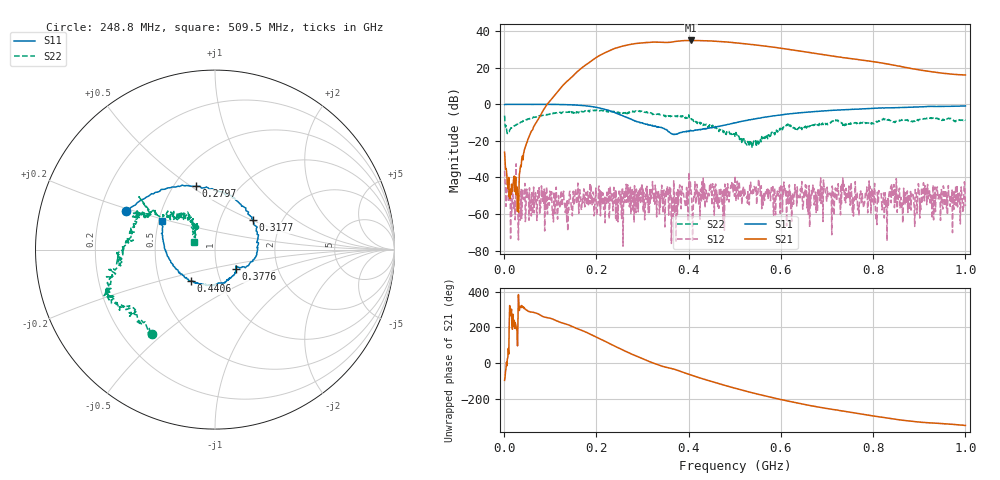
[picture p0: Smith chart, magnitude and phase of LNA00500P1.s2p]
! Created with skrf 1.9.0 (http://scikit-rf.org).
# Hz S RI R 50.0
!freq ReS11 ImS11 ReS21 ImS21 ReS12 ImS12 ReS22 ImS22
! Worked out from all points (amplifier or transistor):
!   1001 points, 1 MHz to 1 GHz, reference 50 ohm
!   highest |S21| = 34.9 dB at 404.6 MHz (marker M1)
!   |S21| within 3 dB of that: 258.4 MHz to 562.9 MHz (304.5 MHz wide, 74.1 % of centre)
!   unconditionally stable (mu >= 1): 211.1 MHz to 282.7 MHz; 298.7 MHz to 400.4 MHz; 401 MHz to end of sweep (the widest 3 of 41)
!   at 166.8 MHz: K = 3.40, MAG = 30.0 dB, |S12| = -56.9 dB
!   at 500.5 MHz: K = 1.11, MAG = 34.4 dB, |S12| = -39.1 dB
!   at 1 GHz: K = 7.50, MAG = 24.1 dB, |S12| = -55.7 dB
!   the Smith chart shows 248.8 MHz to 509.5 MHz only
!   S11 on the Smith chart (normalised r, x): 248.8 MHz: 0.31, +0.19; 279.7 MHz: 0.64, +0.52; 317.7 MHz: 1.43, +0.51; 377.6 MHz: 1.23, -0.27; 440.6 MHz: 0.72, -0.27; 509.5 MHz: 0.52, +0.19
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1000000  0.9811 -0.00953  -0.00659 -0.0486  -0.0108 0.0106  0.387 0.3023
1.08892e8  0.5266 -0.8441  -0.8149 -1.514  0.000432 -0.00405  0.4167 -0.3801
1.67833e8  -0.2242 -0.9034  -9.819 -0.5207  0.001 -0.000783  0.0248 -0.6346
2.11789e8  -0.677 -0.3569  -15.14 17.87  -0.000299 -0.00242  -0.2249 -0.6375
2.29771e8  -0.6637 -0.0523  -8.873 28.56  -0.00551 0.00132  -0.3123 -0.5816
2.48752e8  -0.4943 0.2148  4.526 36.44  -0.00281 0.00313  -0.3496 -0.471
2.79721e8  -0.1058 0.3529  31.2 32.38  -0.00102 -0.000551  -0.5784 -0.2795
2.99701e8  0.1013 0.2866  44.14 19.48  -0.0022 0.000331  -0.5789 -0.2164
3.17683e8  0.2125 0.1659  49.57 4.413  -0.00275 0.00289  -0.5813 -0.1091
3.34666e8  0.2339 0.0122  49.23 -9.834  0.00435 0.000156  -0.5258 -0.0612
3.77623e8  0.1167 -0.1084  39.56 -36.5  0.00156 0.000902  -0.4331 0.2156
4.04596e8  0.0471 -0.1853  21.59 -51.56  0.0005 0.00509  -0.3314 0.1959
4.4056e8  -0.1348 -0.1757  -6.485 -54.2  0.000328 0.00265  -0.172 0.1872
4.69531e8  -0.2472 -0.0639  -25.18 -45.49  0.00436 0.00183  -0.124 0.1609
5.005e8  -0.2929 0.1086  -38.19 -30.16  0.0095 -0.00572  -0.1055 0.0724
5.09491e8  -0.2935 0.1575  -39.9 -24.91  0.00767 0.000787  -0.1185 0.0405
5.43457e8  -0.2224 0.3316  -41.83 -6.696  0.00479 -0.00129  -0.093 -0.0026
5.88412e8  -0.0425 0.4875  -34.07 11.39  -0.000255 -0.000918  -0.1655 -0.0667
6.67333e8  0.3329 0.5287  -12.36 22.13  -0.0012 -0.00294  -0.2681 -0.0117
7.53247e8  0.6277 0.3697  2.263 17.54  -0.00321 -0.00235  -0.282 0.0959
8.34166e8  0.7893 0.1417  8.082 9.514  -0.00327 0.00117  -0.3541 0.1143
1e9  0.81 -0.3986  6.263 1.083  -0.00103 0.00128  -0.1161 0.3443
